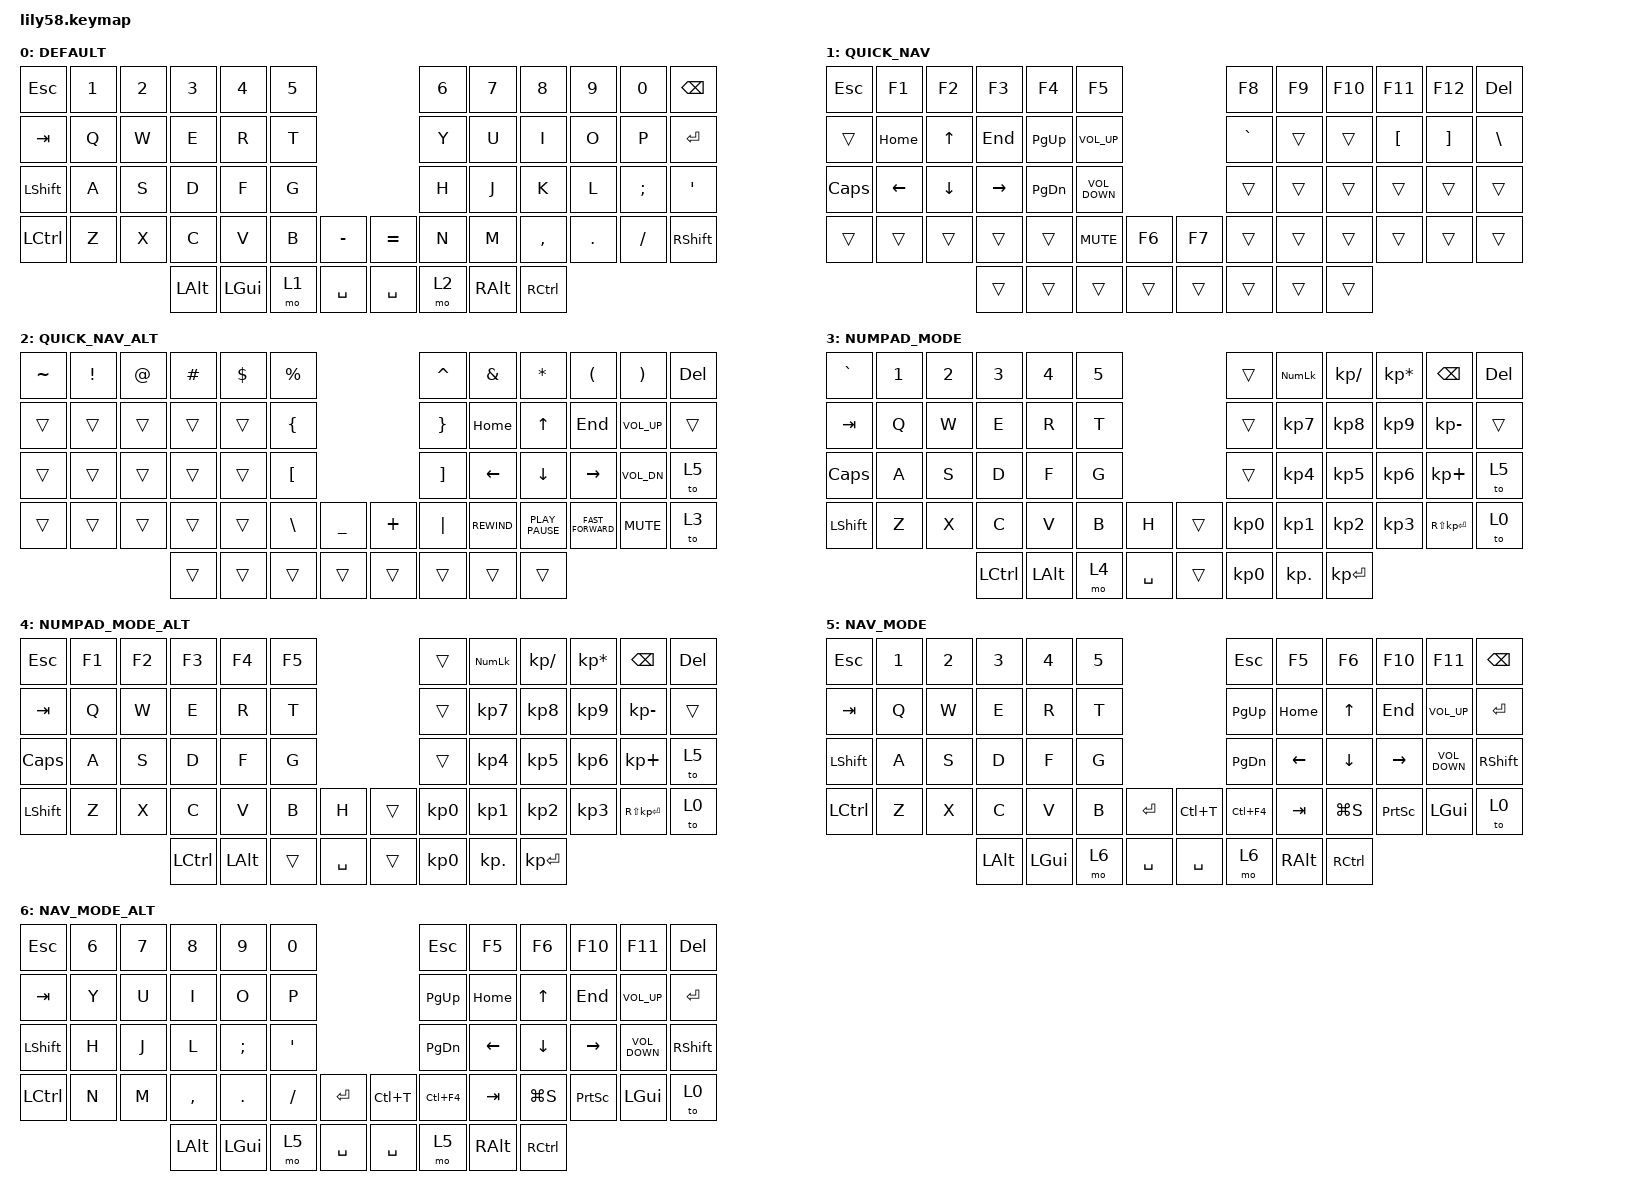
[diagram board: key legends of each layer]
/*
 * Copyright (c) 2020 The ZMK Contributors
 *
 * SPDX-License-Identifier: MIT
 */

#include <behaviors.dtsi>
#include <dt-bindings/zmk/keys.h>

/ {
    keymap {
        compatible = "zmk,keymap";

        DEFAULT {
            // ------------------------------------------------------------------------------------------------------------
            // |  ESC  |  1  |  2  |  3   |  4   |  5   |                   |  6   |  7    |  8    |  9   |   0   |   `   |
            // |  TAB  |  Q  |  W  |  E   |  R   |  T   |                   |  Y   |  U    |  I    |  O   |   P   |   -   |
            // |  CTRL |  A  |  S  |  D   |  F   |  G   |                   |  H   |  J    |  K    |  L   |   ;   |   '   |
            // | SHIFT |  Z  |  X  |  C   |  V   |  B   |   "["  |  |  "]"  |  N   |  M    |  ,    |  .   |   /   | SHIFT |
            //                     | ALT  | GUI  | LOWER|  SPACE |  | ENTER | RAISE| BSPC  | GUI   |

            bindings = <
&kp ESC         &kp N1  &kp N2  &kp N3    &kp N4    &kp N5                          &kp N6  &kp N7         &kp N8     &kp N9   &kp N0    &kp BACKSPACE
&kp TAB         &kp Q   &kp W   &kp E     &kp R     &kp T                           &kp Y   &kp U          &kp I      &kp O    &kp P     &kp ENTER
&kp LEFT_SHIFT  &kp A   &kp S   &kp D     &kp F     &kp G                           &kp H   &kp J          &kp K      &kp L    &kp SEMI  &kp SQT
&kp LCTRL       &kp Z   &kp X   &kp C     &kp V     &kp B   &kp MINUS    &kp EQUAL  &kp N   &kp M          &kp COMMA  &kp DOT  &kp FSLH  &kp RIGHT_SHIFT
                                &kp LALT  &kp LGUI  &mo 1   &kp SPACE    &kp SPACE  &mo 2   &kp RIGHT_ALT  &kp RCTRL
            >;
        };

        QUICK_NAV {
            bindings = <
&kp ESC   &kp F1          &kp F2        &kp F3     &kp F4         &kp F5                               &kp F8     &kp F9  &kp F10  &kp F11   &kp F12   &kp DELETE
&trans    &kp HOME        &kp UP_ARROW  &kp END    &kp PAGE_UP    &kp C_VOLUME_UP                      &kp GRAVE  &trans  &trans   &kp LBKT  &kp RBKT  &kp BSLH
&kp CAPS  &kp LEFT_ARROW  &kp DOWN      &kp RIGHT  &kp PAGE_DOWN  &kp C_VOLUME_DOWN                    &trans     &trans  &trans   &trans    &trans    &trans
&trans    &trans          &trans        &trans     &trans         &kp K_MUTE         &kp F6    &kp F7  &trans     &trans  &trans   &trans    &trans    &trans
                                        &trans     &trans         &trans             &trans    &trans  &trans     &trans  &trans
            >;
        };

        QUICK_NAV_ALT {
            bindings = <
&kp TILDE  &kp EXCLAMATION  &kp AT_SIGN  &kp HASH  &kp DOLLAR  &kp PERCENT                                   &kp CARET          &kp AMPERSAND  &kp ASTERISK      &kp LEFT_PARENTHESIS  &kp RIGHT_PARENTHESIS  &kp DELETE
&trans     &trans           &trans       &trans    &trans      &kp LEFT_BRACE                                &kp RIGHT_BRACE    &kp HOME       &kp UP_ARROW      &kp END               &kp C_VOLUME_UP        &trans
&trans     &trans           &trans       &trans    &trans      &kp LEFT_BRACKET                              &kp RIGHT_BRACKET  &kp LEFT       &kp DOWN          &kp RIGHT             &kp C_VOL_DN           &to 5
&trans     &trans           &trans       &trans    &trans      &kp BACKSLASH     &kp UNDERSCORE    &kp PLUS  &kp PIPE           &kp C_REWIND   &kp K_PLAY_PAUSE  &kp C_FAST_FORWARD    &kp K_MUTE             &to 3
                                         &trans    &trans      &trans            &trans            &trans    &trans             &trans         &trans
            >;
        };

        NUMPAD_MODE {
            bindings = <
&kp GRAVE  &kp N1  &kp N2  &kp N3     &kp N4    &kp N5                       &trans           &kp KP_NUM       &kp KP_SLASH     &kp KP_MULTIPLY  &kp BACKSPACE     &kp DELETE
&kp TAB    &kp Q   &kp W   &kp E      &kp R     &kp T                        &trans           &kp KP_NUMBER_7  &kp KP_NUMBER_8  &kp KP_NUMBER_9  &kp KP_SUBTRACT   &trans
&kp CAPS   &kp A   &kp S   &kp D      &kp F     &kp G                        &trans           &kp KP_NUMBER_4  &kp KP_NUMBER_5  &kp KP_NUMBER_6  &kp KP_PLUS       &to 5
&kp LSHFT  &kp Z   &kp X   &kp C      &kp V     &kp B   &kp H        &trans  &kp KP_NUMBER_0  &kp KP_NUMBER_1  &kp KP_NUMBER_2  &kp KP_NUMBER_3  &kp RS(KP_ENTER)  &to 0
                           &kp LCTRL  &kp LALT  &mo 4   &kp SPACE    &trans  &kp KP_NUMBER_0  &kp KP_DOT       &kp KP_ENTER
            >;
        };

        NUMPAD_MODE_ALT {
            bindings = <
&kp ESCAPE  &kp F1  &kp F2  &kp F3     &kp F4    &kp F5                       &trans           &kp KP_NUM       &kp KP_SLASH     &kp KP_MULTIPLY  &kp BACKSPACE     &kp DELETE
&kp TAB     &kp Q   &kp W   &kp E      &kp R     &kp T                        &trans           &kp KP_NUMBER_7  &kp KP_NUMBER_8  &kp KP_NUMBER_9  &kp KP_SUBTRACT   &trans
&kp CAPS    &kp A   &kp S   &kp D      &kp F     &kp G                        &trans           &kp KP_NUMBER_4  &kp KP_NUMBER_5  &kp KP_NUMBER_6  &kp KP_PLUS       &to 5
&kp LSHFT   &kp Z   &kp X   &kp C      &kp V     &kp B   &kp H        &trans  &kp KP_NUMBER_0  &kp KP_NUMBER_1  &kp KP_NUMBER_2  &kp KP_NUMBER_3  &kp RS(KP_ENTER)  &to 0
                            &kp LCTRL  &kp LALT  &trans  &kp SPACE    &trans  &kp KP_NUMBER_0  &kp KP_DOT       &kp KP_ENTER
            >;
        };

        NAV_MODE {
            bindings = <
&kp ESC    &kp N1  &kp N2  &kp N3    &kp N4    &kp N5                          &kp ESCAPE     &kp F5    &kp F6        &kp F10          &kp F11            &kp BSPC
&kp TAB    &kp Q   &kp W   &kp E     &kp R     &kp T                           &kp PG_UP      &kp HOME  &kp UP_ARROW  &kp END          &kp C_VOLUME_UP    &kp ENTER
&kp LSHFT  &kp A   &kp S   &kp D     &kp F     &kp G                           &kp PAGE_DOWN  &kp LEFT  &kp DOWN      &kp RIGHT        &kp C_VOLUME_DOWN  &kp RSHFT
&kp LCTRL  &kp Z   &kp X   &kp C     &kp V     &kp B   &kp ENTER    &kp LC(T)  &kp LC(F4)     &kp TAB   &kp LG(S)     &kp PRINTSCREEN  &kp LGUI           &to 0
                           &kp LALT  &kp LGUI  &mo 6   &kp SPACE    &kp SPACE  &mo 6          &kp RALT  &kp RCTRL
            >;
        };

        NAV_MODE_ALT {
            bindings = <
&kp ESC    &kp N6  &kp N7  &kp N8     &kp N9    &kp N0                            &kp ESCAPE     &kp F5    &kp F6        &kp F10          &kp F11            &kp DEL
&kp TAB    &kp Y   &kp U   &kp I      &kp O     &kp P                             &kp PG_UP      &kp HOME  &kp UP_ARROW  &kp END          &kp C_VOLUME_UP    &kp ENTER
&kp LSHFT  &kp H   &kp J   &kp L      &kp SEMI  &kp SQT                           &kp PAGE_DOWN  &kp LEFT  &kp DOWN      &kp RIGHT        &kp C_VOLUME_DOWN  &kp RSHFT
&kp LCTRL  &kp N   &kp M   &kp COMMA  &kp DOT   &kp FSLH  &kp RET      &kp LC(T)  &kp LC(F4)     &kp TAB   &kp LG(S)     &kp PRINTSCREEN  &kp LGUI           &to 0
                           &kp LALT   &kp LGUI  &mo 5     &kp SPACE    &kp SPACE  &mo 5          &kp RALT  &kp RCTRL
            >;
        };
    };

    conditional_layers { compatible = "zmk,conditional-layers"; };
};
